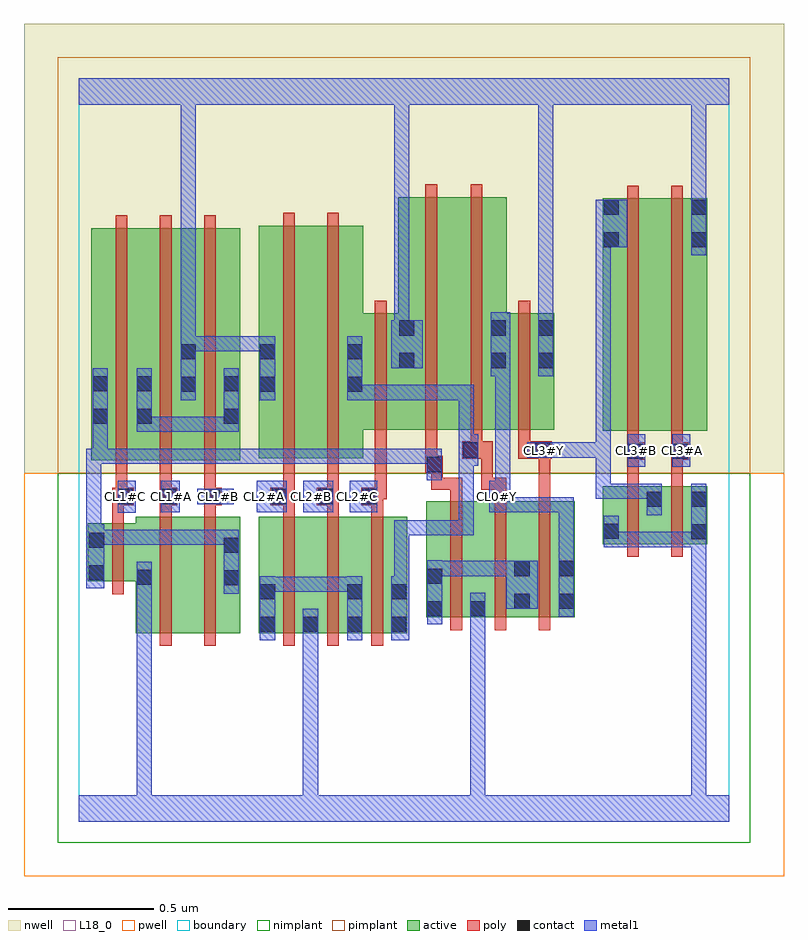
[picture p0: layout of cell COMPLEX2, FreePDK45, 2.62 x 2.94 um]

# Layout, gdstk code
import gdstk
lib = gdstk.Library(unit=1e-6, precision=1e-09)
def R(c, l, rs):  # rectangles x0, y0, x1, y1
    for r in rs: c.add(gdstk.rectangle(r[:2], r[2:], *l))
def A(c, l, x, y, w, h, nx, ny, dx, dy):  # array of equal rectangles
    R(c, l, [(x+i*dx, y+j*dy, x+i*dx+w, y+j*dy+h) for i in range(nx) for j in range(ny)])
active = (1, 0)
pwell = (2, 0)
nwell = (3, 0)
nimplant = (4, 0)
pimplant = (5, 0)
poly = (9, 0)
contact = (10, 0)
metal1 = (11, 0)
L18_0 = (18, 0)
boundary = (235, 0)

complex2 = lib.new_cell('COMPLEX2')
A(complex2, active, 0.044, 1.244, 0.06, 0.8, 3, 1, 0.152, 0)
R(complex2, active, [(0.196,0.65,0.376,1.05), (0.376,0.65,0.556,1.05), (0.496,0.65,0.556,1.05), (0.62,0.65,0.68,1.05), (0.62,0.65,0.828,1.05), (0.768,0.65,0.98,1.05), (0.768,0.65,0.828,0.71), (0.92,0.65,1.132,1.05), (0.92,0.65,0.98,0.822), (1.072,0.65,1.132,1.05), (1.196,0.704,1.256,1.104), (1.196,0.704,1.404,1.104), (1.344,0.704,1.556,1.104), (1.344,0.704,1.404,0.764), (1.496,0.704,1.556,1.104), (1.496,0.704,1.708,1.104), (1.648,0.704,1.708,1.104), (0.196,0.812,0.256,0.872), (0.032,0.828,0.092,1.028), (0.032,0.828,0.256,1.028), (1.804,0.956,1.864,1.156), (1.804,0.956,2.012,1.156), (1.952,0.956,2.164,1.156), (1.952,0.956,2.012,1.14), (2.104,0.956,2.164,1.156), (0.044,1.244,0.256,2.044), (0.196,1.244,0.408,2.044), (0.348,1.244,0.556,2.044), (0.496,1.244,0.556,2.044), (0.62,1.252,0.8,2.052), (0.62,1.252,0.68,2.044), (0.8,1.252,0.98,2.052), (1.804,1.346,1.864,2.146), (1.804,1.346,1.984,2.146), (1.984,1.346,2.164,2.146), (2.104,1.346,2.164,2.146), (0.92,1.35,1.16,1.75), (0.92,1.35,0.98,2.052), (1.1,1.35,1.16,1.73), (1.1,1.35,1.29,2.15), (1.29,1.35,1.474,2.15), (1.414,1.35,1.638,1.75), (1.578,1.35,1.638,1.73), (1.414,1.558,1.474,1.73)])
R(complex2, pwell, [(-0.188,-0.188,2.428,1.2)])
R(complex2, nwell, [(-0.188,1.2,2.428,2.748)])
R(complex2, nimplant, [(-0.072,-0.072,2.312,1.2)])
R(complex2, pimplant, [(-0.072,1.2,2.312,2.632)])
A(complex2, poly, 0.704, 0.606, 0.04, 0.488, 3, 1, 0.152, 0)
A(complex2, poly, 1.28, 0.66, 0.04, 0.488, 3, 1, 0.152, 0)
A(complex2, poly, 0.704, 1.054, 0.04, 0.076, 3, 1, 0.152, 0)
A(complex2, poly, 0.128, 1.11, 0.04, 0.13, 3, 1, 0.152, 0)
A(complex2, poly, 0.128, 1.2, 0.04, 0.888, 3, 1, 0.152, 0)
R(complex2, poly, [(0.28,0.606,0.32,1.094), (0.432,0.606,0.472,1.094), (0.116,0.784,0.156,1.072), (1.888,0.912,1.928,1.2), (2.04,0.912,2.08,1.2), (0.116,1.032,0.156,1.13), (0.28,1.054,0.32,1.13), (0.432,1.054,0.472,1.13), (0.116,1.09,0.19,1.15), (0.28,1.09,0.34,1.15), (0.432,1.09,0.492,1.15), (0.66,1.09,0.744,1.15), (0.82,1.09,0.896,1.15), (0.972,1.09,1.048,1.15), (1.28,1.108,1.32,1.184), (1.432,1.108,1.472,1.184), (1.584,1.108,1.624,1.29), (0.128,1.11,0.168,1.15), (0.128,1.11,0.168,1.15), (0.28,1.11,0.32,1.15), (0.28,1.11,0.32,1.15), (0.432,1.11,0.472,1.15), (0.432,1.11,0.472,1.15), (0.704,1.11,0.744,1.212), (0.856,1.11,0.896,1.15), (0.856,1.11,0.896,1.15), (0.856,1.11,0.896,1.248), (1.008,1.11,1.048,1.15), (1.008,1.11,1.06,1.15), (1.02,1.11,1.06,1.346), (1.214,1.144,1.254,1.24), (1.214,1.144,1.32,1.184), (1.386,1.144,1.426,1.29), (1.386,1.144,1.472,1.184), (1.888,1.16,1.928,1.286), (2.04,1.16,2.08,1.286), (0.704,1.172,0.744,1.248), (0.704,1.172,0.744,1.212), (1.194,1.2,1.254,1.26), (0.704,1.208,0.744,2.096), (0.856,1.208,0.896,2.096), (1.194,1.22,1.234,1.346), (1.888,1.246,1.948,1.306), (2.04,1.246,2.08,1.286), (2.04,1.246,2.08,1.286), (2.04,1.246,2.1,1.306), (1.32,1.25,1.426,1.31), (1.514,1.25,1.628,1.31), (1.584,1.25,1.624,1.29), (1.584,1.25,1.624,1.29), (1.888,1.266,1.928,1.342), (1.888,1.266,1.928,1.306), (1.888,1.266,1.928,1.306), (2.04,1.266,2.08,1.342), (1.35,1.27,1.39,1.346), (1.514,1.27,1.554,1.346), (1.888,1.302,1.928,2.19), (2.04,1.302,2.08,2.19), (1.02,1.306,1.06,1.794), (1.194,1.306,1.234,2.194), (1.35,1.306,1.39,2.194), (1.514,1.306,1.554,1.794)])
A(complex2, contact, 0.772, 0.654, 0.052, 0.052, 3, 1, 0.152, 0)
R(complex2, contact, [(0.624,0.654,0.676,0.706), (1.2,0.708,1.252,0.76), (1.348,0.708,1.4,0.76), (1.5,0.734,1.552,0.786), (1.652,0.734,1.704,0.786), (0.624,0.766,0.676,0.818), (0.924,0.766,0.976,0.818), (1.076,0.766,1.128,0.818), (0.5,0.814,0.552,0.866), (0.2,0.816,0.252,0.868), (1.2,0.82,1.252,0.872), (0.036,0.832,0.088,0.884), (1.5,0.846,1.552,0.898), (1.652,0.846,1.704,0.898), (0.5,0.926,0.552,0.978), (0.036,0.944,0.088,0.996), (2.108,0.972,2.16,1.024), (1.808,0.974,1.86,1.026), (1.956,1.084,2.008,1.136), (2.108,1.084,2.16,1.136), (0.134,1.094,0.186,1.146), (0.284,1.094,0.336,1.146), (0.436,1.094,0.488,1.146), (0.664,1.094,0.716,1.146), (0.824,1.094,0.876,1.146), (0.976,1.094,1.028,1.146), (1.198,1.204,1.25,1.256), (1.892,1.25,1.944,1.302), (2.044,1.25,2.096,1.302), (1.324,1.254,1.376,1.306), (1.572,1.254,1.624,1.306), (0.048,1.37,0.1,1.422), (0.2,1.37,0.252,1.422), (0.5,1.37,0.552,1.422), (0.352,1.48,0.404,1.532), (0.624,1.48,0.676,1.532), (0.924,1.48,0.976,1.532), (0.048,1.482,0.1,1.534), (0.2,1.482,0.252,1.534), (0.5,1.482,0.552,1.534), (1.104,1.562,1.156,1.614), (1.418,1.562,1.47,1.614), (1.582,1.562,1.634,1.614), (0.352,1.592,0.404,1.644), (0.624,1.592,0.676,1.644), (0.924,1.592,0.976,1.644), (1.104,1.674,1.156,1.726), (1.418,1.674,1.47,1.726), (1.582,1.674,1.634,1.726), (1.808,1.978,1.86,2.03), (2.108,1.978,2.16,2.03), (1.808,2.09,1.86,2.142), (2.108,2.09,2.16,2.142)])
R(complex2, metal1, [(0,0,2.24,0.092), (0.2,0.04,0.252,0.092), (0.2,0.04,0.252,0.092), (0.2,0.04,0.252,0.092), (0.2,0.04,0.252,0.092), (0.2,0.04,0.252,0.092), (0.2,0.04,0.252,0.092), (0.2,0.04,0.252,0.84), (0.772,0.04,0.824,0.092), (0.772,0.04,0.824,0.092), (0.772,0.04,0.824,0.092), (0.772,0.04,0.824,0.092), (0.772,0.04,0.824,0.092), (0.772,0.04,0.824,0.092), (0.772,0.04,0.824,0.092), (0.772,0.04,0.824,0.092), (0.772,0.04,0.824,0.092), (0.772,0.04,0.824,0.092), (0.772,0.04,0.824,0.092), (0.772,0.04,0.824,0.092), (0.772,0.04,0.824,0.678), (1.348,0.04,1.4,0.732), (2.108,0.04,2.16,0.092), (2.108,0.04,2.16,0.092), (2.108,0.04,2.16,0.092), (2.108,0.04,2.16,0.092), (2.108,0.04,2.16,0.092), (2.108,0.04,2.16,0.092), (2.108,0.04,2.16,0.092), (2.108,0.04,2.16,0.092), (2.108,0.04,2.16,0.092), (2.108,0.04,2.16,0.092), (2.108,0.04,2.16,0.092), (2.108,0.04,2.16,0.092), (2.108,0.04,2.16,0.092), (2.108,0.04,2.16,0.092), (2.108,0.04,2.16,0.996), (0.624,0.626,0.676,0.846), (0.772,0.626,0.824,0.734), (0.924,0.626,0.976,0.846), (1.076,0.626,1.138,0.846), (1.2,0.68,1.252,0.9), (1.348,0.68,1.4,0.732), (1.348,0.68,1.4,0.732), (1.348,0.68,1.4,0.732), (1.348,0.68,1.4,0.732), (1.348,0.68,1.4,0.732), (1.348,0.68,1.4,0.732), (1.348,0.68,1.4,0.732), (1.348,0.68,1.4,0.732), (1.348,0.68,1.4,0.732), (1.348,0.68,1.4,0.732), (1.348,0.68,1.4,0.732), (1.348,0.68,1.4,0.732), (1.348,0.68,1.4,0.788), (1.652,0.706,1.704,0.926), (1.472,0.734,1.58,0.898), (0.5,0.786,0.552,1.006), (0.2,0.788,0.252,0.84), (0.2,0.788,0.252,0.84), (0.2,0.788,0.252,0.84), (0.2,0.788,0.252,0.84), (0.2,0.788,0.252,0.84), (0.2,0.788,0.252,0.84), (0.2,0.788,0.252,0.896), (0.624,0.792,0.676,0.844), (0.624,0.792,0.676,0.844), (0.624,0.792,0.786,0.844), (0.734,0.792,0.786,0.844), (0.734,0.792,0.786,0.844), (0.734,0.792,0.786,0.844), (0.734,0.792,0.976,0.844), (1.086,0.794,1.138,1.038), (0.026,0.804,0.088,1.024), (1.2,0.846,1.252,0.898), (1.2,0.846,1.252,0.898), (1.2,0.846,1.36,0.898), (1.308,0.846,1.36,0.898), (1.308,0.846,1.376,0.898), (1.324,0.846,1.376,0.898), (1.324,0.846,1.524,0.898), (1.652,0.874,1.704,1.118), (2.108,0.944,2.16,0.996), (2.108,0.944,2.16,0.996), (2.108,0.944,2.16,1.164), (1.808,0.946,1.86,1.054), (1.808,0.946,1.942,0.998), (1.89,0.946,1.942,0.998), (1.89,0.946,2.05,0.998), (1.998,0.946,2.05,0.998), (1.998,0.946,2.16,0.998), (2.108,0.946,2.16,0.998), (2.108,0.946,2.16,0.998), (0.036,0.954,0.088,1.006), (0.036,0.954,0.088,1.006), (0.036,0.954,0.294,1.006), (0.242,0.954,0.294,1.006), (0.242,0.954,0.294,1.006), (0.242,0.954,0.294,1.006), (0.242,0.954,0.438,1.006), (0.386,0.954,0.438,1.006), (0.386,0.954,0.552,1.006), (0.5,0.954,0.552,1.006), (0.5,0.954,0.552,1.006), (0.026,0.972,0.078,1.024), (0.026,0.972,0.078,1.024), (0.026,0.972,0.078,1.284), (1.086,0.986,1.138,1.038), (1.086,0.986,1.25,1.038), (1.198,0.986,1.25,1.038), (1.198,0.986,1.25,1.038), (1.198,0.986,1.25,1.038), (1.198,0.986,1.36,1.038), (1.308,0.986,1.36,1.038), (1.308,0.986,1.36,1.278), (1.956,1.056,2.008,1.164), (0.134,1.064,0.196,1.174), (0.284,1.066,0.348,1.174), (0.614,1.066,0.716,1.174), (0.774,1.066,0.876,1.174), (0.934,1.066,1.028,1.174), (1.414,1.066,1.486,1.174), (1.434,1.066,1.486,1.118), (1.434,1.066,1.486,1.118), (1.434,1.066,1.704,1.118), (1.652,1.066,1.704,1.118), (0.408,1.094,0.534,1.146), (1.78,1.112,1.832,1.164), (1.78,1.112,1.832,1.164), (1.78,1.112,1.832,1.164), (1.78,1.112,1.942,1.164), (1.78,1.112,1.832,1.306), (1.89,1.112,1.942,1.164), (1.89,1.112,2.008,1.164), (1.434,1.122,1.486,1.174), (1.434,1.122,1.486,1.174), (1.434,1.122,1.486,1.586), (1.198,1.176,1.25,1.284), (1.89,1.222,1.95,1.334), (2.044,1.222,2.106,1.334), (1.308,1.226,1.36,1.278), (1.308,1.226,1.376,1.278), (1.308,1.226,1.36,1.504), (1.324,1.226,1.376,1.334), (0.026,1.232,0.1,1.284), (0.048,1.232,0.1,1.284), (0.048,1.232,0.1,1.284), (0.048,1.232,0.21,1.284), (0.048,1.232,0.1,1.394), (0.158,1.232,0.21,1.284), (0.158,1.232,0.21,1.284), (0.158,1.232,0.21,1.284), (0.158,1.232,0.404,1.284), (0.352,1.232,0.404,1.284), (0.352,1.232,0.548,1.284), (0.496,1.232,0.548,1.284), (0.496,1.232,0.548,1.284), (0.496,1.232,0.548,1.284), (0.496,1.232,0.662,1.284), (0.61,1.232,0.662,1.284), (0.61,1.232,0.662,1.284), (0.61,1.232,0.662,1.284), (0.61,1.232,0.786,1.284), (0.734,1.232,0.786,1.284), (0.734,1.232,0.786,1.284), (0.734,1.232,0.786,1.284), (0.734,1.232,1.018,1.284), (0.966,1.232,1.018,1.284), (0.966,1.232,1.138,1.284), (1.086,1.232,1.138,1.284), (1.086,1.232,1.138,1.284), (1.086,1.232,1.138,1.284), (1.086,1.232,1.25,1.284), (1.198,1.232,1.25,1.284), (1.198,1.232,1.25,1.284), (1.544,1.254,1.654,1.306), (1.602,1.254,1.832,1.306), (1.78,1.254,1.832,1.306), (1.78,1.254,1.832,1.306), (1.78,1.254,1.832,1.306), (1.78,1.254,1.832,2.03), (0.048,1.342,0.1,1.562), (0.2,1.342,0.252,1.394), (0.2,1.342,0.252,1.394), (0.2,1.342,0.252,1.562), (0.2,1.342,0.404,1.394), (0.352,1.342,0.404,1.394), (0.352,1.342,0.404,1.394), (0.352,1.342,0.404,1.394), (0.352,1.342,0.552,1.394), (0.5,1.342,0.552,1.562), (0.352,1.452,0.404,1.672), (0.624,1.452,0.676,1.672), (0.924,1.452,0.976,1.504), (0.924,1.452,0.976,1.504), (0.924,1.452,0.976,1.672), (0.924,1.452,1.128,1.504), (1.076,1.452,1.128,1.504), (1.076,1.452,1.25,1.504), (1.198,1.452,1.25,1.504), (1.198,1.452,1.25,1.504), (1.198,1.452,1.25,1.504), (1.198,1.452,1.36,1.504), (1.308,1.452,1.36,1.504), (1.418,1.534,1.486,1.754), (1.582,1.534,1.634,1.754), (1.076,1.562,1.184,1.726), (0.352,1.62,0.404,1.672), (0.352,1.62,0.404,1.672), (0.352,1.62,0.404,1.672), (0.352,1.62,0.404,1.672), (0.352,1.62,0.404,1.672), (0.352,1.62,0.404,1.672), (0.352,1.62,0.404,1.672), (0.352,1.62,0.404,1.672), (0.352,1.62,0.548,1.672), (0.352,1.62,0.404,2.52), (0.496,1.62,0.548,1.672), (0.496,1.62,0.548,1.672), (0.496,1.62,0.548,1.672), (0.496,1.62,0.676,1.672), (1.086,1.674,1.138,1.726), (1.086,1.674,1.138,1.726), (1.086,1.674,1.138,1.726), (1.086,1.674,1.138,1.726), (1.086,1.674,1.138,2.52), (1.582,1.702,1.634,1.754), (1.582,1.702,1.634,1.754), (1.582,1.702,1.634,1.754), (1.582,1.702,1.634,1.754), (1.582,1.702,1.634,1.754), (1.582,1.702,1.634,1.754), (1.582,1.702,1.634,1.754), (1.582,1.702,1.634,1.754), (1.582,1.702,1.634,2.52), (2.108,1.95,2.16,2.17), (1.78,1.978,1.888,2.142), (2.108,2.118,2.16,2.52), (0,2.468,2.24,2.56), (1.086,2.468,1.138,2.52), (1.086,2.468,1.138,2.52), (1.086,2.468,1.138,2.52), (1.086,2.468,1.138,2.52), (1.582,2.468,1.634,2.52), (1.582,2.468,1.634,2.52), (1.582,2.468,1.634,2.52), (1.582,2.468,1.634,2.52), (1.582,2.468,1.634,2.52), (1.582,2.468,1.634,2.52), (1.582,2.468,1.634,2.52), (1.582,2.468,1.634,2.52), (2.108,2.468,2.16,2.52), (2.108,2.468,2.16,2.52), (2.108,2.468,2.16,2.52), (2.108,2.468,2.16,2.52), (2.108,2.468,2.16,2.52), (2.108,2.468,2.16,2.52), (2.108,2.468,2.16,2.52), (2.108,2.468,2.16,2.52)])
A(complex2, L18_0, 0.134, 1.094, 0.052, 0.052, 6, 1, 0.16, 0)
R(complex2, L18_0, [(0,0,2.24,0.092), (0.2,0.04,0.252,0.092), (0.2,0.04,0.252,0.092), (0.2,0.04,0.252,0.092), (0.2,0.04,0.252,0.092), (0.2,0.04,0.252,0.092), (0.2,0.04,0.252,0.092), (0.2,0.04,0.252,0.84), (0.772,0.04,0.824,0.092), (0.772,0.04,0.824,0.092), (0.772,0.04,0.824,0.092), (0.772,0.04,0.824,0.092), (0.772,0.04,0.824,0.092), (0.772,0.04,0.824,0.092), (0.772,0.04,0.824,0.092), (0.772,0.04,0.824,0.092), (0.772,0.04,0.824,0.092), (0.772,0.04,0.824,0.092), (0.772,0.04,0.824,0.092), (0.772,0.04,0.824,0.092), (0.772,0.04,0.824,0.678), (1.348,0.04,1.4,0.732), (2.108,0.04,2.16,0.092), (2.108,0.04,2.16,0.092), (2.108,0.04,2.16,0.092), (2.108,0.04,2.16,0.092), (2.108,0.04,2.16,0.092), (2.108,0.04,2.16,0.092), (2.108,0.04,2.16,0.092), (2.108,0.04,2.16,0.092), (2.108,0.04,2.16,0.092), (2.108,0.04,2.16,0.092), (2.108,0.04,2.16,0.092), (2.108,0.04,2.16,0.092), (2.108,0.04,2.16,0.092), (2.108,0.04,2.16,0.092), (2.108,0.04,2.16,0.996), (0.772,0.626,0.824,0.734), (1.348,0.68,1.4,0.732), (1.348,0.68,1.4,0.732), (1.348,0.68,1.4,0.732), (1.348,0.68,1.4,0.732), (1.348,0.68,1.4,0.732), (1.348,0.68,1.4,0.732), (1.348,0.68,1.4,0.732), (1.348,0.68,1.4,0.732), (1.348,0.68,1.4,0.732), (1.348,0.68,1.4,0.732), (1.348,0.68,1.4,0.732), (1.348,0.68,1.4,0.732), (1.348,0.68,1.4,0.788), (1.652,0.706,1.704,0.926), (0.2,0.788,0.252,0.84), (0.2,0.788,0.252,0.84), (0.2,0.788,0.252,0.84), (0.2,0.788,0.252,0.84), (0.2,0.788,0.252,0.84), (0.2,0.788,0.252,0.84), (0.2,0.788,0.252,0.896), (1.652,0.874,1.704,1.118), (2.108,0.944,2.16,0.996), (2.108,0.944,2.16,0.996), (2.108,0.944,2.16,1.164), (1.808,0.946,1.86,1.054), (1.808,0.946,1.942,0.998), (1.89,0.946,1.942,0.998), (1.89,0.946,2.05,0.998), (1.998,0.946,2.05,0.998), (1.998,0.946,2.16,0.998), (2.108,0.946,2.16,0.998), (2.108,0.946,2.16,0.998), (1.956,1.056,2.008,1.164), (0.134,1.064,0.196,1.174), (0.284,1.066,0.348,1.174), (0.614,1.066,0.716,1.174), (0.774,1.066,0.876,1.174), (0.934,1.066,1.028,1.174), (1.414,1.066,1.486,1.174), (1.434,1.066,1.486,1.118), (1.434,1.066,1.486,1.118), (1.434,1.066,1.704,1.118), (1.652,1.066,1.704,1.118), (0.408,1.094,0.534,1.146), (1.414,1.094,1.466,1.146), (1.78,1.112,1.832,1.164), (1.78,1.112,1.832,1.164), (1.78,1.112,1.832,1.164), (1.78,1.112,1.832,1.306), (1.78,1.112,1.942,1.164), (1.89,1.112,1.942,1.164), (1.89,1.112,2.008,1.164), (1.434,1.122,1.486,1.174), (1.434,1.122,1.486,1.174), (1.434,1.122,1.486,1.586), (1.89,1.222,1.95,1.334), (2.044,1.222,2.106,1.334), (1.544,1.254,1.654,1.306), (1.574,1.254,1.626,1.306), (1.602,1.254,1.832,1.306), (1.78,1.254,1.832,1.306), (1.78,1.254,1.832,1.306), (1.78,1.254,1.832,1.306), (1.78,1.254,1.832,2.03), (1.894,1.254,1.946,1.306), (2.054,1.254,2.106,1.306), (0.352,1.452,0.404,1.672), (0.624,1.452,0.676,1.672), (1.418,1.534,1.486,1.754), (1.582,1.534,1.634,1.754), (1.076,1.562,1.184,1.726), (0.352,1.62,0.404,1.672), (0.352,1.62,0.404,1.672), (0.352,1.62,0.404,1.672), (0.352,1.62,0.404,1.672), (0.352,1.62,0.404,1.672), (0.352,1.62,0.404,1.672), (0.352,1.62,0.404,1.672), (0.352,1.62,0.404,1.672), (0.352,1.62,0.404,2.52), (0.352,1.62,0.548,1.672), (0.496,1.62,0.548,1.672), (0.496,1.62,0.548,1.672), (0.496,1.62,0.548,1.672), (0.496,1.62,0.676,1.672), (1.086,1.674,1.138,1.726), (1.086,1.674,1.138,1.726), (1.086,1.674,1.138,1.726), (1.086,1.674,1.138,1.726), (1.086,1.674,1.138,2.52), (1.582,1.702,1.634,1.754), (1.582,1.702,1.634,1.754), (1.582,1.702,1.634,1.754), (1.582,1.702,1.634,1.754), (1.582,1.702,1.634,1.754), (1.582,1.702,1.634,1.754), (1.582,1.702,1.634,1.754), (1.582,1.702,1.634,1.754), (1.582,1.702,1.634,2.52), (2.108,1.95,2.16,2.17), (1.78,1.978,1.888,2.142), (2.108,2.118,2.16,2.52), (0,2.468,2.24,2.56), (1.086,2.468,1.138,2.52), (1.086,2.468,1.138,2.52), (1.086,2.468,1.138,2.52), (1.086,2.468,1.138,2.52), (1.582,2.468,1.634,2.52), (1.582,2.468,1.634,2.52), (1.582,2.468,1.634,2.52), (1.582,2.468,1.634,2.52), (1.582,2.468,1.634,2.52), (1.582,2.468,1.634,2.52), (1.582,2.468,1.634,2.52), (1.582,2.468,1.634,2.52), (2.108,2.468,2.16,2.52), (2.108,2.468,2.16,2.52), (2.108,2.468,2.16,2.52), (2.108,2.468,2.16,2.52), (2.108,2.468,2.16,2.52), (2.108,2.468,2.16,2.52), (2.108,2.468,2.16,2.52), (2.108,2.468,2.16,2.52)])
R(complex2, boundary, [(0,0,2.24,2.56)])
complex2.add(gdstk.Label('CL0#Y', (1.44,1.12), layer=11, texttype=0))
complex2.add(gdstk.Label('CL1#A', (0.32,1.12), layer=11, texttype=0))
complex2.add(gdstk.Label('CL1#B', (0.48,1.12), layer=11, texttype=0))
complex2.add(gdstk.Label('CL1#C', (0.16,1.12), layer=11, texttype=0))
complex2.add(gdstk.Label('CL2#A', (0.64,1.12), layer=11, texttype=0))
complex2.add(gdstk.Label('CL2#B', (0.8,1.12), layer=11, texttype=0))
complex2.add(gdstk.Label('CL2#C', (0.96,1.12), layer=11, texttype=0))
complex2.add(gdstk.Label('CL3#A', (2.08,1.28), layer=11, texttype=0))
complex2.add(gdstk.Label('CL3#B', (1.92,1.28), layer=11, texttype=0))
complex2.add(gdstk.Label('CL3#Y', (1.6,1.28), layer=11, texttype=0))

lib.write_gds('COMPLEX2.gds')
